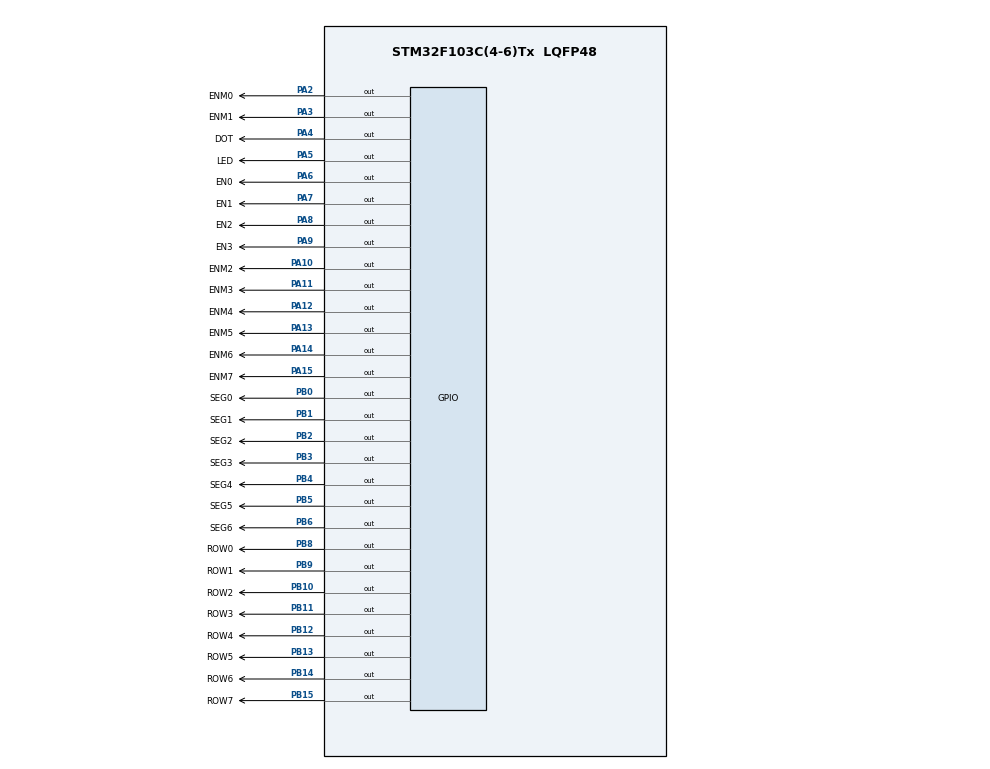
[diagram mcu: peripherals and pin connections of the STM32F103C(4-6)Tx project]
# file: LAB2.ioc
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Mcu.Family=STM32F1
Mcu.Name=STM32F103C(4-6)Tx
Mcu.Package=LQFP48
NVIC.PriorityGroup=NVIC_PRIORITYGROUP_4
NVIC.TIM2_IRQn=true\:0\:0\:false\:false\:true\:true\:true\:true
PA10.GPIO_Label=ENM2
PA10.Signal=GPIO_Output
PA11.GPIO_Label=ENM3
PA11.Signal=GPIO_Output
PA12.GPIO_Label=ENM4
PA12.Signal=GPIO_Output
PA13.GPIO_Label=ENM5
PA13.Signal=GPIO_Output
PA14.GPIO_Label=ENM6
PA14.Signal=GPIO_Output
PA15.GPIO_Label=ENM7
PA15.Signal=GPIO_Output
PA2.GPIO_Label=ENM0
PA2.Signal=GPIO_Output
PA3.GPIO_Label=ENM1
PA3.Signal=GPIO_Output
PA4.GPIO_Label=DOT
PA4.Signal=GPIO_Output
PA5.GPIO_Label=LED
PA5.Signal=GPIO_Output
PA6.GPIO_Label=EN0
PA6.Signal=GPIO_Output
PA7.GPIO_Label=EN1
PA7.Signal=GPIO_Output
PA8.GPIO_Label=EN2
PA8.Signal=GPIO_Output
PA9.GPIO_Label=EN3
PA9.Signal=GPIO_Output
PB0.GPIO_Label=SEG0
PB0.Signal=GPIO_Output
PB1.GPIO_Label=SEG1
PB1.Signal=GPIO_Output
PB10.GPIO_Label=ROW2
PB10.Signal=GPIO_Output
PB11.GPIO_Label=ROW3
PB11.Signal=GPIO_Output
PB12.GPIO_Label=ROW4
PB12.Signal=GPIO_Output
PB13.GPIO_Label=ROW5
PB13.Signal=GPIO_Output
PB14.GPIO_Label=ROW6
PB14.Signal=GPIO_Output
PB15.GPIO_Label=ROW7
PB15.Signal=GPIO_Output
PB2.GPIO_Label=SEG2
PB2.Signal=GPIO_Output
PB3.GPIO_Label=SEG3
PB3.Signal=GPIO_Output
PB4.GPIO_Label=SEG4
PB4.Signal=GPIO_Output
PB5.GPIO_Label=SEG5
PB5.Signal=GPIO_Output
PB6.GPIO_Label=SEG6
PB6.Signal=GPIO_Output
PB8.GPIO_Label=ROW0
PB8.Signal=GPIO_Output
PB9.GPIO_Label=ROW1
PB9.Signal=GPIO_Output
ProjectManager.HeapSize=0x200
ProjectManager.StackSize=0x400
ProjectManager.TargetToolchain=STM32CubeIDE
RCC.APB1Freq_Value=8000000
RCC.APB2Freq_Value=8000000
TIM2.Period=9
TIM2.Prescaler=7999
VP_SYS_VS_ND.Mode=No_Debug
VP_TIM2_VS_ClockSourceINT.Mode=Internal
board=custom

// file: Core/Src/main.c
/* USER CODE BEGIN Header */
/**
  ******************************************************************************
  * @file           : main.c
  * @brief          : Main program body
  ******************************************************************************
  * @attention
  *
  * Copyright (c) 2024 STMicroelectronics.
  * All rights reserved.
  *
  * This software is licensed under terms that can be found in the LICENSE file
  * in the root directory of this software component.
  * If no LICENSE file comes with this software, it is provided AS-IS.
  *
  ******************************************************************************
  */
/* USER CODE END Header */
#include "main.h"

/* USER CODE BEGIN Includes */
#include "soft_timer.h"
/* USER CODE END Includes */

TIM_HandleTypeDef htim2;

void SystemClock_Config(void);
static void MX_GPIO_Init(void);
static void MX_TIM2_Init(void);

/* USER CODE BEGIN 0 */
int NUM [10][7]=
{
	{0,0,0,0,0,0,1},
	{1,0,0,1,1,1,1},
	{0,0,1,0,0,1,0},
	{0,0,0,0,1,1,0},
	{1,0,0,1,1,0,0},
	{0,1,0,0,1,0,0},
	{0,1,0,0,0,0,0},
	{0,0,0,1,1,1,1},
	{0,0,0,0,0,0,0},
	{0,0,0,0,1,0,0}
};

void HAL_TIM_PeriodElapsedCallback ( TIM_HandleTypeDef * htim )
{
	runTimer();
}

void display7SEG(int num)
{
	HAL_GPIO_WritePin(SEG0_GPIO_Port, SEG0_Pin, NUM[num][0]);
	HAL_GPIO_WritePin(SEG1_GPIO_Port, SEG1_Pin, NUM[num][1]);
	HAL_GPIO_WritePin(SEG2_GPIO_Port, SEG2_Pin, NUM[num][2]);
	HAL_GPIO_WritePin(SEG3_GPIO_Port, SEG3_Pin, NUM[num][3]);
	HAL_GPIO_WritePin(SEG4_GPIO_Port, SEG4_Pin, NUM[num][4]);
	HAL_GPIO_WritePin(SEG5_GPIO_Port, SEG5_Pin, NUM[num][5]);
	HAL_GPIO_WritePin(SEG6_GPIO_Port, SEG6_Pin, NUM[num][6]);
}

const int MAX_LED = 4;
int index_led = 0;
int led_buffer[4] = {1, 2, 3, 4};

int hour = 15, minute = 8, second = 50;

int status_dot = 0;
int status_led = 0;

void update7SEG(int index)
{
	switch (index) {
		case 1:
			HAL_GPIO_WritePin(EN0_GPIO_Port, EN0_Pin, GPIO_PIN_RESET);
			HAL_GPIO_WritePin(EN1_GPIO_Port, EN1_Pin, GPIO_PIN_SET);
			HAL_GPIO_WritePin(EN2_GPIO_Port, EN2_Pin, GPIO_PIN_SET);
			HAL_GPIO_WritePin(EN3_GPIO_Port, EN3_Pin, GPIO_PIN_SET);
			display7SEG(led_buffer[index - 1]);
			break;
		case 2:
			HAL_GPIO_WritePin(EN0_GPIO_Port, EN0_Pin, GPIO_PIN_SET);
			HAL_GPIO_WritePin(EN1_GPIO_Port, EN1_Pin, GPIO_PIN_RESET);
			HAL_GPIO_WritePin(EN2_GPIO_Port, EN2_Pin, GPIO_PIN_SET);
			HAL_GPIO_WritePin(EN3_GPIO_Port, EN3_Pin, GPIO_PIN_SET);
			display7SEG(led_buffer[index - 1]);
			break;
		case 3:
			HAL_GPIO_WritePin(EN0_GPIO_Port, EN0_Pin, GPIO_PIN_SET);
			HAL_GPIO_WritePin(EN1_GPIO_Port, EN1_Pin, GPIO_PIN_SET);
			HAL_GPIO_WritePin(EN2_GPIO_Port, EN2_Pin, GPIO_PIN_RESET);
			HAL_GPIO_WritePin(EN3_GPIO_Port, EN3_Pin, GPIO_PIN_SET);
			display7SEG(led_buffer[index - 1]);
			break;
		case 4:
			HAL_GPIO_WritePin(EN0_GPIO_Port, EN0_Pin, GPIO_PIN_SET);
			HAL_GPIO_WritePin(EN1_GPIO_Port, EN1_Pin, GPIO_PIN_SET);
			HAL_GPIO_WritePin(EN2_GPIO_Port, EN2_Pin, GPIO_PIN_SET);
			HAL_GPIO_WritePin(EN3_GPIO_Port, EN3_Pin, GPIO_PIN_RESET);
			display7SEG(led_buffer[index - 1]);
			break;
		default:
			break;
	}
}

void updateClockBuffer(void)
{
	led_buffer[0] = hour/10;
	led_buffer[1] = hour%10;
	led_buffer[2] = minute/10;
	led_buffer[3] = minute%10;
}

const int MAX_LED_MATRIX = 8;
int index_led_matrix = 0;
//uint8_t matrix_buffer[8] = {0x01, 0x02, 0x03, 0x04, 0x05, 0x06, 0x07, 0x08};
uint8_t matrix_buffer[8] = {0x00, 0xfc, 0xfe, 0x33, 0x33, 0xfe, 0xfc, 0x00};

void clearLEDmatrix(void)
{
	HAL_GPIO_WritePin(ENM0_GPIO_Port, ENM0_Pin, GPIO_PIN_SET);
	HAL_GPIO_WritePin(ENM1_GPIO_Port, ENM1_Pin, GPIO_PIN_SET);
	HAL_GPIO_WritePin(ENM2_GPIO_Port, ENM2_Pin, GPIO_PIN_SET);
	HAL_GPIO_WritePin(ENM3_GPIO_Port, ENM3_Pin, GPIO_PIN_SET);
	HAL_GPIO_WritePin(ENM4_GPIO_Port, ENM4_Pin, GPIO_PIN_SET);
	HAL_GPIO_WritePin(ENM5_GPIO_Port, ENM5_Pin, GPIO_PIN_SET);
	HAL_GPIO_WritePin(ENM6_GPIO_Port, ENM6_Pin, GPIO_PIN_SET);
	HAL_GPIO_WritePin(ENM7_GPIO_Port, ENM7_Pin, GPIO_PIN_SET);
}

void updateLEDMatrix(int index)
{
	HAL_GPIO_WritePin(ROW0_GPIO_Port, ROW0_Pin, !((matrix_buffer[index] >> 0)&1));
	HAL_GPIO_WritePin(ROW1_GPIO_Port, ROW1_Pin, !((matrix_buffer[index] >> 1)&1));
	HAL_GPIO_WritePin(ROW2_GPIO_Port, ROW2_Pin, !((matrix_buffer[index] >> 2)&1));
	HAL_GPIO_WritePin(ROW3_GPIO_Port, ROW3_Pin, !((matrix_buffer[index] >> 3)&1));
	HAL_GPIO_WritePin(ROW4_GPIO_Port, ROW4_Pin, !((matrix_buffer[index] >> 4)&1));
	HAL_GPIO_WritePin(ROW5_GPIO_Port, ROW5_Pin, !((matrix_buffer[index] >> 5)&1));
	HAL_GPIO_WritePin(ROW6_GPIO_Port, ROW6_Pin, !((matrix_buffer[index] >> 6)&1));
	HAL_GPIO_WritePin(ROW7_GPIO_Port, ROW7_Pin, !((matrix_buffer[index] >> 7)&1));
	switch(index)
	{
	case 0:
		HAL_GPIO_WritePin(ENM0_GPIO_Port, ENM0_Pin, GPIO_PIN_RESET);
		break;
	case 1:
		HAL_GPIO_WritePin(ENM1_GPIO_Port, ENM1_Pin, GPIO_PIN_RESET);
		break;
	case 2:
		HAL_GPIO_WritePin(ENM2_GPIO_Port, ENM2_Pin, GPIO_PIN_RESET);
		break;
	case 3:
		HAL_GPIO_WritePin(ENM3_GPIO_Port, ENM3_Pin, GPIO_PIN_RESET);
		break;
	case 4:
		HAL_GPIO_WritePin(ENM4_GPIO_Port, ENM4_Pin, GPIO_PIN_RESET);
		break;
	case 5:
		HAL_GPIO_WritePin(ENM5_GPIO_Port, ENM5_Pin, GPIO_PIN_RESET);
		break;
	case 6:
		HAL_GPIO_WritePin(ENM6_GPIO_Port, ENM6_Pin, GPIO_PIN_RESET);
		break;
	case 7:
		HAL_GPIO_WritePin(ENM7_GPIO_Port, ENM7_Pin, GPIO_PIN_RESET);
		break;
	default:
		break;
	}
}

void animationLEDMatrix(void)
{
	uint8_t temp = 0;
	temp = matrix_buffer[0];
	matrix_buffer[0] = matrix_buffer[1];
	matrix_buffer[1] = matrix_buffer[2];
	matrix_buffer[2] = matrix_buffer[3];
	matrix_buffer[3] = matrix_buffer[4];
	matrix_buffer[4] = matrix_buffer[5];
	matrix_buffer[5] = matrix_buffer[6];
	matrix_buffer[6] = matrix_buffer[7];
	matrix_buffer[7] = temp;
}

/* USER CODE END 0 */

int main(void)
{

	/* MCU Configuration--------------------------------------------------------*/

	/* Reset of all peripherals, Initializes the Flash interface and the Systick. */
	HAL_Init();

	/* Configure the system clock */
	SystemClock_Config();

	/* Initialize all configured peripherals */
	MX_GPIO_Init();
	MX_TIM2_Init();
	/* USER CODE BEGIN 2 */

	setTimer(0, 1000);
	setTimer(1, 250);
	setTimer(2, 10);
	setTimer(3, 1000);
	HAL_TIM_Base_Start_IT(&htim2);

	/* USER CODE END 2 */

	/* Infinite loop */
	while (1)
	{

	  if (second >= 60){
		 second = 0;
		 minute++;
	  }

	  if(minute >= 60){
		 minute = 0;
		 hour++;
	  }
	  if(hour >=24){
		 hour = 0;
	  }
	  HAL_GPIO_WritePin(LED_GPIO_Port, LED_Pin, status_led);
	  HAL_GPIO_WritePin(DOT_GPIO_Port, DOT_Pin, status_led);
	  updateClockBuffer();
	  update7SEG(index_led);
	  updateLEDMatrix(index_led_matrix);

	  if (getTimerFlag(0))
	  {
		  status_led = !status_led;
		  status_dot = !status_dot;
		  second++;
		  setTimer(0, 1000);
	  }

	  if (getTimerFlag(1))
	  {
		  index_led++;
		  if(index_led > 4)
		  {
			  index_led = 1;
		  }
		  setTimer(1, 250);
	  }

	  if (getTimerFlag(2))
	  {
		  index_led_matrix++;
		  clearLEDmatrix();
		  if (index_led_matrix >= MAX_LED_MATRIX)
		  {
			  index_led_matrix = 0;
		  }
		  setTimer(2, 10);
	  }

	  if (getTimerFlag(3))
	  {
		  animationLEDMatrix();
		  setTimer(3, 1000);
	  }

	}
}

void SystemClock_Config(void)
{
  RCC_OscInitTypeDef RCC_OscInitStruct = {0};
  RCC_ClkInitTypeDef RCC_ClkInitStruct = {0};

  /** Initializes the RCC Oscillators according to the specified parameters
  * in the RCC_OscInitTypeDef structure.
  */
  RCC_OscInitStruct.OscillatorType = RCC_OSCILLATORTYPE_HSI;
  RCC_OscInitStruct.HSIState = RCC_HSI_ON;
  RCC_OscInitStruct.HSICalibrationValue = RCC_HSICALIBRATION_DEFAULT;
  RCC_OscInitStruct.PLL.PLLState = RCC_PLL_NONE;
  if (HAL_RCC_OscConfig(&RCC_OscInitStruct) != HAL_OK)
  {
    Error_Handler();
  }

  /** Initializes the CPU, AHB and APB buses clocks
  */
  RCC_ClkInitStruct.ClockType = RCC_CLOCKTYPE_HCLK|RCC_CLOCKTYPE_SYSCLK
                              |RCC_CLOCKTYPE_PCLK1|RCC_CLOCKTYPE_PCLK2;
  RCC_ClkInitStruct.SYSCLKSource = RCC_SYSCLKSOURCE_HSI;
  RCC_ClkInitStruct.AHBCLKDivider = RCC_SYSCLK_DIV1;
  RCC_ClkInitStruct.APB1CLKDivider = RCC_HCLK_DIV1;
  RCC_ClkInitStruct.APB2CLKDivider = RCC_HCLK_DIV1;

  if (HAL_RCC_ClockConfig(&RCC_ClkInitStruct, FLASH_LATENCY_0) != HAL_OK)
  {
    Error_Handler();
  }
}

static void MX_TIM2_Init(void)
{

  TIM_ClockConfigTypeDef sClockSourceConfig = {0};
  TIM_MasterConfigTypeDef sMasterConfig = {0};

  htim2.Instance = TIM2;
  htim2.Init.Prescaler = 7999;
  htim2.Init.CounterMode = TIM_COUNTERMODE_UP;
  htim2.Init.Period = 9;
  htim2.Init.ClockDivision = TIM_CLOCKDIVISION_DIV1;
  htim2.Init.AutoReloadPreload = TIM_AUTORELOAD_PRELOAD_DISABLE;
  if (HAL_TIM_Base_Init(&htim2) != HAL_OK)
  {
    Error_Handler();
  }
  sClockSourceConfig.ClockSource = TIM_CLOCKSOURCE_INTERNAL;
  if (HAL_TIM_ConfigClockSource(&htim2, &sClockSourceConfig) != HAL_OK)
  {
    Error_Handler();
  }
  sMasterConfig.MasterOutputTrigger = TIM_TRGO_RESET;
  sMasterConfig.MasterSlaveMode = TIM_MASTERSLAVEMODE_DISABLE;
  if (HAL_TIMEx_MasterConfigSynchronization(&htim2, &sMasterConfig) != HAL_OK)
  {
    Error_Handler();
  }

}

static void MX_GPIO_Init(void)
{
  GPIO_InitTypeDef GPIO_InitStruct = {0};

  /* GPIO Ports Clock Enable */
  __HAL_RCC_GPIOA_CLK_ENABLE();
  __HAL_RCC_GPIOB_CLK_ENABLE();

  /*Configure GPIO pin Output Level */
  HAL_GPIO_WritePin(GPIOA, ENM0_Pin|ENM1_Pin|DOT_Pin|LED_Pin
                          |EN0_Pin|EN1_Pin|EN2_Pin|EN3_Pin
                          |ENM2_Pin|ENM3_Pin|ENM4_Pin|ENM5_Pin
                          |ENM6_Pin|ENM7_Pin, GPIO_PIN_RESET);

  /*Configure GPIO pin Output Level */
  HAL_GPIO_WritePin(GPIOB, SEG0_Pin|SEG1_Pin|SEG2_Pin|ROW2_Pin
                          |ROW3_Pin|ROW4_Pin|ROW5_Pin|ROW6_Pin
                          |ROW7_Pin|SEG3_Pin|SEG4_Pin|SEG5_Pin
                          |SEG6_Pin|ROW0_Pin|ROW1_Pin, GPIO_PIN_RESET);

  /*Configure GPIO pins : ENM0_Pin ENM1_Pin DOT_Pin LED_Pin
                           EN0_Pin EN1_Pin EN2_Pin EN3_Pin
                           ENM2_Pin ENM3_Pin ENM4_Pin ENM5_Pin
                           ENM6_Pin ENM7_Pin */
  GPIO_InitStruct.Pin = ENM0_Pin|ENM1_Pin|DOT_Pin|LED_Pin
                          |EN0_Pin|EN1_Pin|EN2_Pin|EN3_Pin
                          |ENM2_Pin|ENM3_Pin|ENM4_Pin|ENM5_Pin
                          |ENM6_Pin|ENM7_Pin;
  GPIO_InitStruct.Mode = GPIO_MODE_OUTPUT_PP;
  GPIO_InitStruct.Pull = GPIO_NOPULL;
  GPIO_InitStruct.Speed = GPIO_SPEED_FREQ_LOW;
  HAL_GPIO_Init(GPIOA, &GPIO_InitStruct);

  /*Configure GPIO pins : SEG0_Pin SEG1_Pin SEG2_Pin ROW2_Pin
                           ROW3_Pin ROW4_Pin ROW5_Pin ROW6_Pin
                           ROW7_Pin SEG3_Pin SEG4_Pin SEG5_Pin
                           SEG6_Pin ROW0_Pin ROW1_Pin */
  GPIO_InitStruct.Pin = SEG0_Pin|SEG1_Pin|SEG2_Pin|ROW2_Pin
                          |ROW3_Pin|ROW4_Pin|ROW5_Pin|ROW6_Pin
                          |ROW7_Pin|SEG3_Pin|SEG4_Pin|SEG5_Pin
                          |SEG6_Pin|ROW0_Pin|ROW1_Pin;
  GPIO_InitStruct.Mode = GPIO_MODE_OUTPUT_PP;
  GPIO_InitStruct.Pull = GPIO_NOPULL;
  GPIO_InitStruct.Speed = GPIO_SPEED_FREQ_LOW;
  HAL_GPIO_Init(GPIOB, &GPIO_InitStruct);

}

void Error_Handler(void)
{
  __disable_irq();
  while (1)
  {
  }
}
